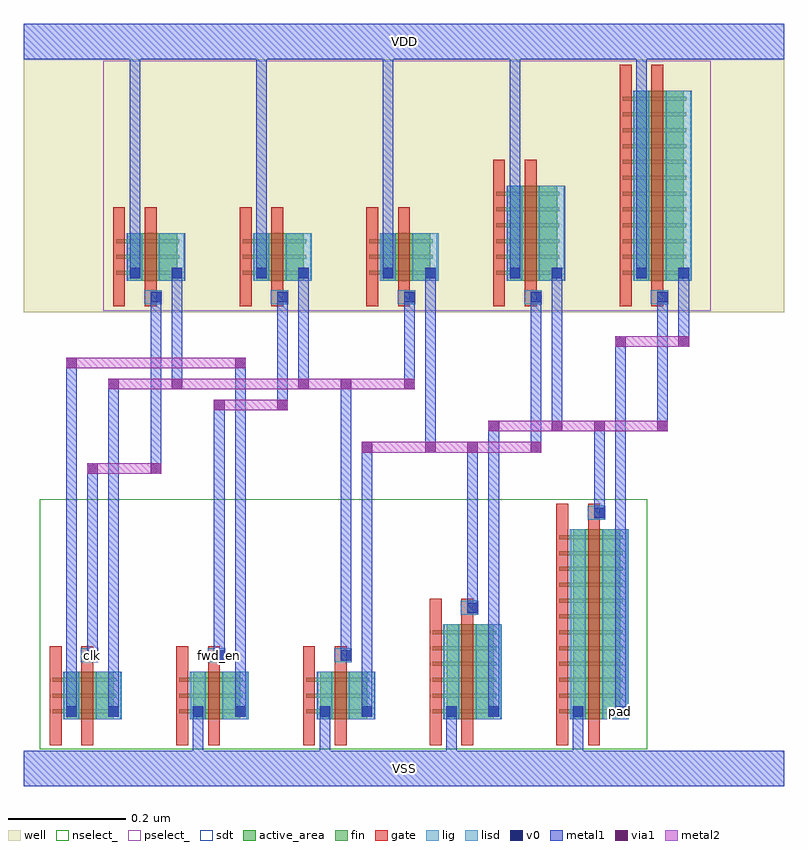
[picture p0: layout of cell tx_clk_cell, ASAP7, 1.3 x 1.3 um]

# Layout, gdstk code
import gdstk
lib = gdstk.Library(unit=1e-6, precision=2.5e-10)
def R(c, l, rs):  # rectangles x0, y0, x1, y1
    for r in rs: c.add(gdstk.rectangle(r[:2], r[2:], *l))
def A(c, l, x, y, w, h, nx, ny, dx, dy):  # array of equal rectangles
    R(c, l, [(x+i*dx, y+j*dy, x+i*dx+w, y+j*dy+h) for i in range(nx) for j in range(ny)])
well = (1, 0)
fin = (2, 0)
gate = (7, 0)
active_area = (11, 0)
nselect_ = (12, 0)
pselect_ = (13, 0)
lig = (16, 0)
lisd = (17, 0)
v0 = (18, 0)
metal1 = (19, 0)
metal2 = (20, 0)
via1 = (21, 0)
sdt = (88, 0)

tx_clk_cell = lib.new_cell('tx_clk_cell')
R(tx_clk_cell, well, [(0,0.808,1.296,1.24)])
A(tx_clk_cell, fin, 0.049, 0.124, 0.108, 0.007, 5, 3, 0.216, 0.027)
A(tx_clk_cell, fin, 0.697, 0.205, 0.108, 0.007, 1, 3, 0, 0.027)
A(tx_clk_cell, fin, 0.913, 0.205, 0.108, 0.007, 1, 9, 0, 0.027)
A(tx_clk_cell, fin, 0.157, 0.872, 0.108, 0.007, 5, 3, 0.216, 0.027)
A(tx_clk_cell, fin, 0.805, 0.953, 0.108, 0.007, 1, 3, 0, 0.027)
A(tx_clk_cell, fin, 1.021, 0.953, 0.108, 0.007, 1, 9, 0, 0.027)
R(tx_clk_cell, gate, [(0.044,0.07,0.064,0.239), (0.098,0.07,0.118,0.239), (0.26,0.07,0.28,0.239), (0.314,0.07,0.334,0.239), (0.476,0.07,0.496,0.239), (0.53,0.07,0.55,0.239), (0.692,0.07,0.712,0.32), (0.746,0.07,0.766,0.32), (0.908,0.07,0.928,0.482), (0.962,0.07,0.982,0.482), (0.152,0.818,0.172,0.987), (0.206,0.818,0.226,0.987), (0.368,0.818,0.388,0.987), (0.422,0.818,0.442,0.987), (0.584,0.818,0.604,0.987), (0.638,0.818,0.658,0.987), (0.8,0.818,0.82,1.068), (0.854,0.818,0.874,1.068), (1.016,0.818,1.036,1.23), (1.07,0.818,1.09,1.23)])
A(tx_clk_cell, active_area, 0.073, 0.114, 0.08, 0.081, 3, 1, 0.216, 0)
A(tx_clk_cell, active_area, 0.181, 0.862, 0.08, 0.081, 3, 1, 0.216, 0)
R(tx_clk_cell, active_area, [(0.721,0.114,0.801,0.276), (0.937,0.114,1.017,0.438), (0.829,0.862,0.909,1.024), (1.045,0.862,1.125,1.186)])
R(tx_clk_cell, nselect_, [(0.027,0.063,1.063,0.489)])
R(tx_clk_cell, pselect_, [(0.135,0.811,1.171,1.237)])
A(tx_clk_cell, lig, 0.097, 0.211, 0.03, 0.024, 3, 1, 0.216, 0)
A(tx_clk_cell, lig, 0.205, 0.822, 0.03, 0.024, 5, 1, 0.216, 0)
R(tx_clk_cell, lig, [(0.745,0.292,0.775,0.316), (0.961,0.454,0.991,0.478)])
A(tx_clk_cell, lisd, 0.067, 0.114, 0.027, 0.081, 3, 1, 0.216, 0)
A(tx_clk_cell, lisd, 0.122, 0.114, 0.045, 0.081, 3, 1, 0.216, 0)
A(tx_clk_cell, lisd, 0.175, 0.862, 0.027, 0.081, 3, 1, 0.216, 0)
A(tx_clk_cell, lisd, 0.23, 0.862, 0.045, 0.081, 3, 1, 0.216, 0)
R(tx_clk_cell, lisd, [(0.715,0.114,0.742,0.276), (0.77,0.114,0.815,0.276), (0.931,0.114,0.958,0.438), (0.986,0.114,1.031,0.438), (0.823,0.862,0.85,1.024), (0.878,0.862,0.923,1.024), (1.039,0.862,1.066,1.186), (1.094,0.862,1.139,1.186)])
A(tx_clk_cell, v0, 0.108, 0.214, 0.018, 0.018, 3, 1, 0.216, 0)
A(tx_clk_cell, v0, 0.216, 0.825, 0.018, 0.018, 5, 1, 0.216, 0)
R(tx_clk_cell, v0, [(0.072,0.118,0.09,0.136), (0.144,0.118,0.162,0.136), (0.288,0.118,0.306,0.136), (0.36,0.118,0.378,0.136), (0.504,0.118,0.522,0.136), (0.576,0.118,0.594,0.136), (0.72,0.118,0.738,0.136), (0.792,0.118,0.81,0.136), (0.936,0.118,0.954,0.136), (1.008,0.118,1.026,0.136), (0.756,0.295,0.774,0.313), (0.972,0.457,0.99,0.475), (0.18,0.866,0.198,0.884), (0.252,0.866,0.27,0.884), (0.396,0.866,0.414,0.884), (0.468,0.866,0.486,0.884), (0.612,0.866,0.63,0.884), (0.684,0.866,0.702,0.884), (0.828,0.866,0.846,0.884), (0.9,0.866,0.918,0.884), (1.044,0.866,1.062,0.884), (1.116,0.866,1.134,0.884)])
A(tx_clk_cell, metal1, 0.288, 0.021, 0.018, 0.115, 4, 1, 0.216, 0)
A(tx_clk_cell, metal1, 0.18, 0.866, 0.018, 0.413, 5, 1, 0.216, 0)
R(tx_clk_cell, metal1, [(0,0,1.296,0.06), (0.072,0.118,0.09,0.731), (0.144,0.118,0.162,0.695), (0.36,0.118,0.378,0.731), (0.576,0.118,0.594,0.587), (0.792,0.118,0.81,0.623), (1.008,0.118,1.026,0.767), (0.108,0.214,0.126,0.551), (0.324,0.214,0.342,0.659), (0.54,0.214,0.558,0.695), (0.756,0.295,0.774,0.587), (0.972,0.457,0.99,0.623), (0.216,0.533,0.234,0.843), (0.684,0.569,0.702,0.884), (0.864,0.569,0.882,0.843), (0.9,0.605,0.918,0.884), (1.08,0.605,1.098,0.843), (0.432,0.641,0.45,0.843), (0.252,0.677,0.27,0.884), (0.468,0.677,0.486,0.884), (0.648,0.677,0.666,0.843), (1.116,0.749,1.134,0.884), (0,1.24,1.296,1.3)])
R(tx_clk_cell, metal2, [(0.108,0.533,0.234,0.551), (0.576,0.569,0.882,0.587), (0.792,0.605,1.098,0.623), (0.324,0.641,0.45,0.659), (0.144,0.677,0.666,0.695), (0.072,0.713,0.378,0.731), (1.008,0.749,1.134,0.767)])
R(tx_clk_cell, via1, [(0.108,0.533,0.126,0.551), (0.216,0.533,0.234,0.551), (0.576,0.569,0.594,0.587), (0.684,0.569,0.702,0.587), (0.756,0.569,0.774,0.587), (0.864,0.569,0.882,0.587), (0.792,0.605,0.81,0.623), (0.9,0.605,0.918,0.623), (0.972,0.605,0.99,0.623), (1.08,0.605,1.098,0.623), (0.324,0.641,0.342,0.659), (0.432,0.641,0.45,0.659), (0.144,0.677,0.162,0.695), (0.252,0.677,0.27,0.695), (0.468,0.677,0.486,0.695), (0.54,0.677,0.558,0.695), (0.648,0.677,0.666,0.695), (0.072,0.713,0.09,0.731), (0.36,0.713,0.378,0.731), (1.008,0.749,1.026,0.767), (1.116,0.749,1.134,0.767)])
A(tx_clk_cell, sdt, 0.069, 0.114, 0.024, 0.081, 3, 1, 0.216, 0)
A(tx_clk_cell, sdt, 0.123, 0.114, 0.042, 0.081, 3, 1, 0.216, 0)
A(tx_clk_cell, sdt, 0.177, 0.862, 0.024, 0.081, 3, 1, 0.216, 0)
A(tx_clk_cell, sdt, 0.231, 0.862, 0.042, 0.081, 3, 1, 0.216, 0)
R(tx_clk_cell, sdt, [(0.717,0.114,0.741,0.276), (0.771,0.114,0.813,0.276), (0.933,0.114,0.957,0.438), (0.987,0.114,1.029,0.438), (0.825,0.862,0.849,1.024), (0.879,0.862,0.921,1.024), (1.041,0.862,1.065,1.186), (1.095,0.862,1.137,1.186)])
tx_clk_cell.add(gdstk.Label('VSS', (0.648,0.03), layer=19, texttype=251))
tx_clk_cell.add(gdstk.Label('VDD', (0.648,1.27), layer=19, texttype=251))
tx_clk_cell.add(gdstk.Label('clk', (0.117,0.223), layer=19, texttype=251))
tx_clk_cell.add(gdstk.Label('fwd_en', (0.333,0.223), layer=19, texttype=251))
tx_clk_cell.add(gdstk.Label('pad', (1.017,0.127), layer=19, texttype=251))

lib.write_gds('tx_clk_cell.gds')
